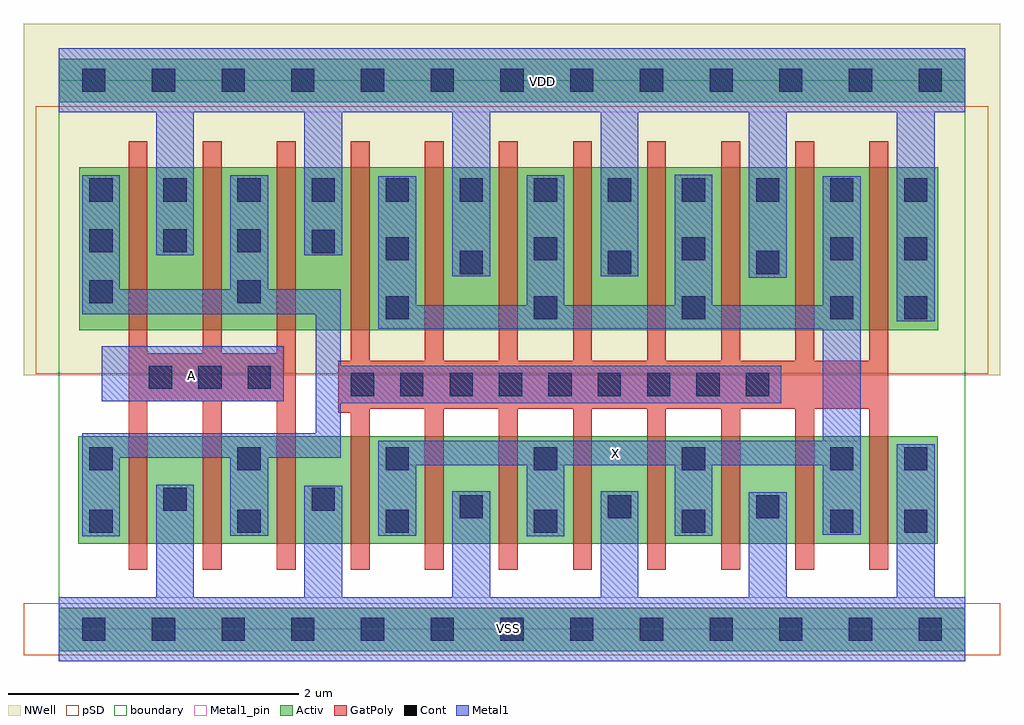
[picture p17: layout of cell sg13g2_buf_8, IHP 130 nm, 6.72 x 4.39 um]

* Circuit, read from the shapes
.subckt sg13g2_buf_8 A VDD VSS X
XM1 VSS A n1 VSS sg13_lv_nmos w=0.74u l=0.13u m=3
XM2 X n1 VSS VSS sg13_lv_nmos w=0.74u l=0.13u m=8
XM3 VDD A n1 VDD sg13_lv_pmos w=1.12u l=0.13u m=3
XM4 X n1 VDD VDD sg13_lv_pmos w=1.12u l=0.13u m=8
.ends

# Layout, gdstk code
import gdstk
lib = gdstk.Library(unit=1e-6, precision=1e-09)
def R(c, l, rs):  # rectangles x0, y0, x1, y1
    for r in rs: c.add(gdstk.rectangle(r[:2], r[2:], *l))
def A(c, l, x, y, w, h, nx, ny, dx, dy):  # array of equal rectangles
    R(c, l, [(x+i*dx, y+j*dy, x+i*dx+w, y+j*dy+h) for i in range(nx) for j in range(ny)])
def P(c, l, *ps):  # polygons
    for p in ps: c.add(gdstk.Polygon(p, *l))
Activ = (1, 0)
GatPoly = (5, 0)
Cont = (6, 0)
Metal1 = (8, 0)
Metal1_pin = (8, 2)
pSD = (14, 0)
NWell = (31, 0)
boundary = (189, 4)

sg13g2_buf_8 = lib.new_cell('sg13g2_buf_8')
R(sg13g2_buf_8, Activ, [(0,-0.15,6.24,0.15), (0.135,0.59,6.05,1.33), (0.14,2.06,6.055,3.18), (0,3.63,6.24,3.93)])
P(sg13g2_buf_8, GatPoly, [(2.01,0.41),(2.01,1.49),(1.925,1.49),(1.925,1.85),(2.01,1.85),(2.01,3.36),(2.14,3.36),(2.14,1.85),(2.52,1.85),(2.52,3.36),(2.65,3.36),(2.65,1.85),(3.03,1.85),(3.03,3.36),(3.16,3.36),(3.16,1.85),(3.54,1.85),(3.54,3.36),(3.67,3.36),(3.67,1.85),(4.05,1.85),(4.05,3.36),(4.18,3.36),(4.18,1.85),(4.56,1.85),(4.56,3.36),(4.69,3.36),(4.69,1.85),(5.07,1.85),(5.07,3.36),(5.2,3.36),(5.2,1.85),(5.58,1.85),(5.58,3.36),(5.71,3.36),(5.71,0.41),(5.58,0.41),(5.58,1.52),(5.2,1.52),(5.2,0.41),(5.07,0.41),(5.07,1.52),(4.69,1.52),(4.69,0.41),(4.56,0.41),(4.56,1.52),(4.18,1.52),(4.18,0.41),(4.05,0.41),(4.05,1.52),(3.67,1.52),(3.67,0.41),(3.54,0.41),(3.54,1.52),(3.16,1.52),(3.16,0.41),(3.03,0.41),(3.03,1.52),(2.65,1.52),(2.65,0.41),(2.52,0.41),(2.52,1.52),(2.14,1.52),(2.14,0.41)],
  [(0.48,0.41),(0.48,3.36),(0.61,3.36),(0.61,1.9),(0.99,1.9),(0.99,3.36),(1.12,3.36),(1.12,1.9),(1.5,1.9),(1.5,3.36),(1.63,3.36),(1.63,0.41),(1.5,0.41),(1.5,1.57),(1.12,1.57),(1.12,0.41),(0.99,0.41),(0.99,1.57),(0.61,1.57),(0.61,0.41)])
A(sg13g2_buf_8, Cont, 0.21, 0.665, 0.16, 0.16, 6, 2, 1.02, 0.43)
A(sg13g2_buf_8, Cont, 2.76, 0.765, 0.16, 0.16, 3, 2, 1.02, 1.68)
A(sg13g2_buf_8, Cont, 2.01, 1.605, 0.16, 0.16, 9, 1, 0.34, 0)
A(sg13g2_buf_8, Cont, 0.62, 1.655, 0.16, 0.16, 3, 1, 0.34, 0)
A(sg13g2_buf_8, Cont, 2.25, 2.135, 0.16, 0.16, 4, 2, 1.02, 0.405)
A(sg13g2_buf_8, Cont, 0.21, 2.595, 0.16, 0.16, 3, 1, 0.51, 0)
A(sg13g2_buf_8, Cont, 0.21, 2.945, 0.16, 0.16, 12, 1, 0.51, 0)
R(sg13g2_buf_8, Cont, [(0.16,-0.08,0.32,0.08), (0.16,-0.08,0.32,0.08), (0.64,-0.08,0.8,0.08), (0.64,-0.08,0.8,0.08), (1.12,-0.08,1.28,0.08), (1.12,-0.08,1.28,0.08), (1.6,-0.08,1.76,0.08), (1.6,-0.08,1.76,0.08), (2.08,-0.08,2.24,0.08), (2.08,-0.08,2.24,0.08), (2.56,-0.08,2.72,0.08), (2.56,-0.08,2.72,0.08), (3.04,-0.08,3.2,0.08), (3.04,-0.08,3.2,0.08), (3.52,-0.08,3.68,0.08), (3.52,-0.08,3.68,0.08), (4,-0.08,4.16,0.08), (4,-0.08,4.16,0.08), (4.48,-0.08,4.64,0.08), (4.48,-0.08,4.64,0.08), (4.96,-0.08,5.12,0.08), (4.96,-0.08,5.12,0.08), (5.44,-0.08,5.6,0.08), (5.44,-0.08,5.6,0.08), (5.92,-0.08,6.08,0.08), (5.92,-0.08,6.08,0.08), (5.82,0.665,5.98,0.825), (0.72,0.815,0.88,0.975), (1.74,0.815,1.9,0.975), (5.82,1.095,5.98,1.255), (5.82,2.135,5.98,2.295), (0.21,2.245,0.37,2.405), (1.23,2.245,1.39,2.405), (5.82,2.54,5.98,2.7), (1.74,2.59,1.9,2.75), (0.16,3.7,0.32,3.86), (0.16,3.7,0.32,3.86), (0.64,3.7,0.8,3.86), (0.64,3.7,0.8,3.86), (1.12,3.7,1.28,3.86), (1.12,3.7,1.28,3.86), (1.6,3.7,1.76,3.86), (1.6,3.7,1.76,3.86), (2.08,3.7,2.24,3.86), (2.08,3.7,2.24,3.86), (2.56,3.7,2.72,3.86), (2.56,3.7,2.72,3.86), (3.04,3.7,3.2,3.86), (3.04,3.7,3.2,3.86), (3.52,3.7,3.68,3.86), (3.52,3.7,3.68,3.86), (4,3.7,4.16,3.86), (4,3.7,4.16,3.86), (4.48,3.7,4.64,3.86), (4.48,3.7,4.64,3.86), (4.96,3.7,5.12,3.86), (4.96,3.7,5.12,3.86), (5.44,3.7,5.6,3.86), (5.44,3.7,5.6,3.86), (5.92,3.7,6.08,3.86), (5.92,3.7,6.08,3.86)])
R(sg13g2_buf_8, Metal1, [(0.295,1.57,1.55,1.95)])
P(sg13g2_buf_8, Metal1, [(0.16,0.64),(0.16,1.35),(1.77,1.35),(1.77,2.17),(0.16,2.17),(0.16,3.125),(0.42,3.125),(0.42,2.34),(1.18,2.34),(1.18,3.125),(1.44,3.125),(1.44,2.34),(1.94,2.34),(1.94,1.815),(4.975,1.815),(4.975,1.555),(1.94,1.555),(1.94,1.18),(1.44,1.18),(1.44,0.645),(1.18,0.645),(1.18,1.18),(0.42,1.18),(0.42,0.64)],
  [(3.22,0.64),(3.22,1.13),(2.46,1.13),(2.46,0.645),(2.2,0.645),(2.2,1.3),(5.26,1.3),(5.26,2.07),(2.2,2.07),(2.2,3.12),(2.46,3.12),(2.46,2.23),(3.22,2.23),(3.22,3.125),(3.48,3.125),(3.48,2.23),(4.24,2.23),(4.24,3.13),(4.5,3.13),(4.5,2.23),(5.26,2.23),(5.26,3.12),(5.52,3.12),(5.52,0.65),(5.26,0.65),(5.26,1.13),(4.5,1.13),(4.5,0.645),(4.24,0.645),(4.24,1.13),(3.48,1.13),(3.48,0.64)],
  [(5.77,2.12),(5.77,3.56),(5.01,3.56),(5.01,2.42),(4.75,2.42),(4.75,3.56),(3.99,3.56),(3.99,2.43),(3.73,2.43),(3.73,3.56),(2.97,3.56),(2.97,2.43),(2.71,2.43),(2.71,3.56),(1.95,3.56),(1.95,2.575),(1.69,2.575),(1.69,3.56),(0.93,3.56),(0.93,2.575),(0.67,2.575),(0.67,3.56),(0,3.56),(0,4),(6.24,4),(6.24,3.56),(6.03,3.56),(6.03,2.12)],
  [(0,-0.22),(0,0.22),(0.67,0.22),(0.67,0.995),(0.93,0.995),(0.93,0.22),(1.69,0.22),(1.69,0.99),(1.95,0.99),(1.95,0.22),(2.71,0.22),(2.71,0.95),(2.97,0.95),(2.97,0.22),(3.73,0.22),(3.73,0.95),(3.99,0.95),(3.99,0.22),(4.75,0.22),(4.75,0.945),(5.01,0.945),(5.01,0.22),(5.77,0.22),(5.77,1.275),(6.03,1.275),(6.03,0.22),(6.24,0.22),(6.24,-0.22)])
R(sg13g2_buf_8, Metal1_pin, [(0,-0.22,6.24,0.22), (2.2,1.13,5.52,1.3), (0.295,1.57,1.55,1.95), (0,3.56,6.24,4)])
R(sg13g2_buf_8, pSD, [(-0.24,-0.18,6.48,0.18), (-0.16,1.76,6.4,3.6)])
R(sg13g2_buf_8, NWell, [(-0.24,1.75,6.48,4.17)])
R(sg13g2_buf_8, boundary, [(0,0,6.24,3.78)])
sg13g2_buf_8.add(gdstk.Label('X', (3.835,1.21), layer=8, texttype=25))
sg13g2_buf_8.add(gdstk.Label('VDD', (3.33,3.775), layer=8, texttype=25))
sg13g2_buf_8.add(gdstk.Label('A', (0.91,1.75), layer=8, texttype=25))
sg13g2_buf_8.add(gdstk.Label('VSS', (3.095,0.005), layer=8, texttype=25))

lib.write_gds('sg13g2_buf_8.gds')
